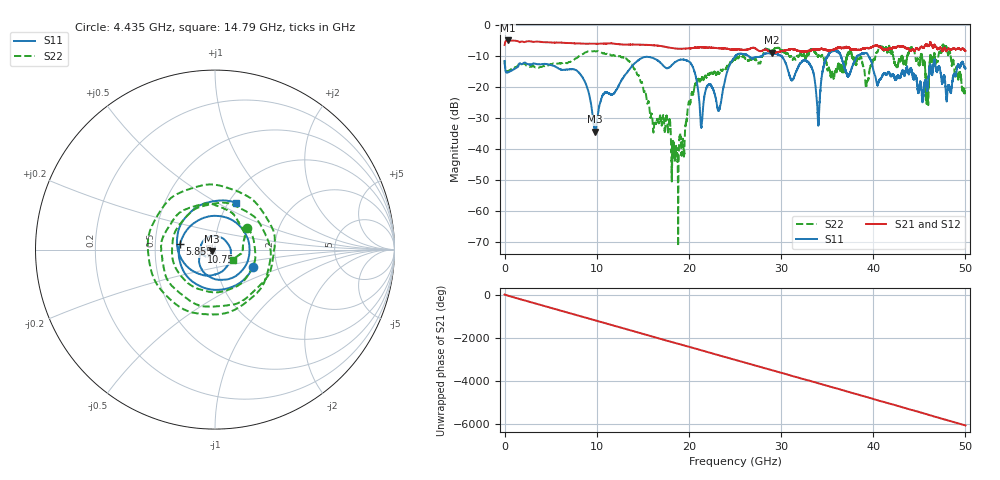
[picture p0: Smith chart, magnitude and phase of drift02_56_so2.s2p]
!Created with skrf (http://scikit-rf.org).
# Hz S RI R 50.0
!freq ReS11 ImS11 ReS21 ImS21 ReS12 ImS12 ReS22 ImS22
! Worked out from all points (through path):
!   10001 points, 300 kHz to 50 GHz, reference 50 ohm
!   highest |S21| = -5.04 dB at 325.3 MHz (marker M1); lowest = -9.0 dB at 29.05 GHz (marker M2)
!   group delay of S21, straight-line fit = 336 ps
!   lowest |S11| = -34.5 dB at 9.815 GHz (marker M3), VSWR 1.04, Z = 48.4 - j0.883 ohm
!   |S11| at or under -10 dB: start of sweep to 25.06 GHz; 29.97 GHz to 35.06 GHz (5.088 GHz wide, 15.6 % of centre); 39.48 GHz to end of sweep (the widest 3 of 8)
!   |S22| runs from -71.4 to -6.3 dB; largest |S21 - S12| = 0.021
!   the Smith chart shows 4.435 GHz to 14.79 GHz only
!   S11 on the Smith chart (normalised r, x): 4.435 GHz: 1.50, -0.31; 5.855 GHz: 0.67, +0.05; 10.75 GHz: 0.86, -0.02; 14.79 GHz: 1.09, +0.62
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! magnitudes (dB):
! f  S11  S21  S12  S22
! 300 kHz  -11.7  -6.5  -6.4  -11.5
! 325.3 MHz  -15.4  -5.0  -5.0  -15.0
! 4.435 GHz  -12.6  -5.6  -5.6  -13.3
! 5.855 GHz  -14.1  -5.7  -5.7  -12.5
! 8.335 GHz  -16.4  -6.0  -6.0  -9.6
! 9.815 GHz  -34.5  -6.1  -6.1  -8.5
! 10.75 GHz  -22.4  -6.1  -6.0  -9.2
! 14.79 GHz  -10.9  -6.4  -6.4  -18.6
! 16.67 GHz  -11.6  -6.7  -6.7  -31.1
! 18.66 GHz  -11.7  -7.7  -7.7  -40.1
! 20.38 GHz  -13.3  -7.5  -7.5  -21.6
! 21.37 GHz  -33.0  -7.3  -7.3  -17.0
! 23.31 GHz  -27.2  -7.5  -7.6  -15.6
! 25 GHz  -10.3  -8.0  -7.9  -11.3
! 29.05 GHz  -9.1  -9.0  -9.0  -8.1
! 33.34 GHz  -13.9  -8.1  -8.1  -8.1
! 34.02 GHz  -31.7  -7.9  -7.9  -10.2
! 35.58 GHz  -8.5  -8.1  -8.1  -15.4
! 41.67 GHz  -15.3  -7.7  -7.8  -7.3
! 45.87 GHz  -20.4  -6.8  -6.9  -25.1
! 47.76 GHz  -17.0  -7.5  -7.5  -7.7
! 50 GHz  -14.0  -8.4  -8.4  -20.3
